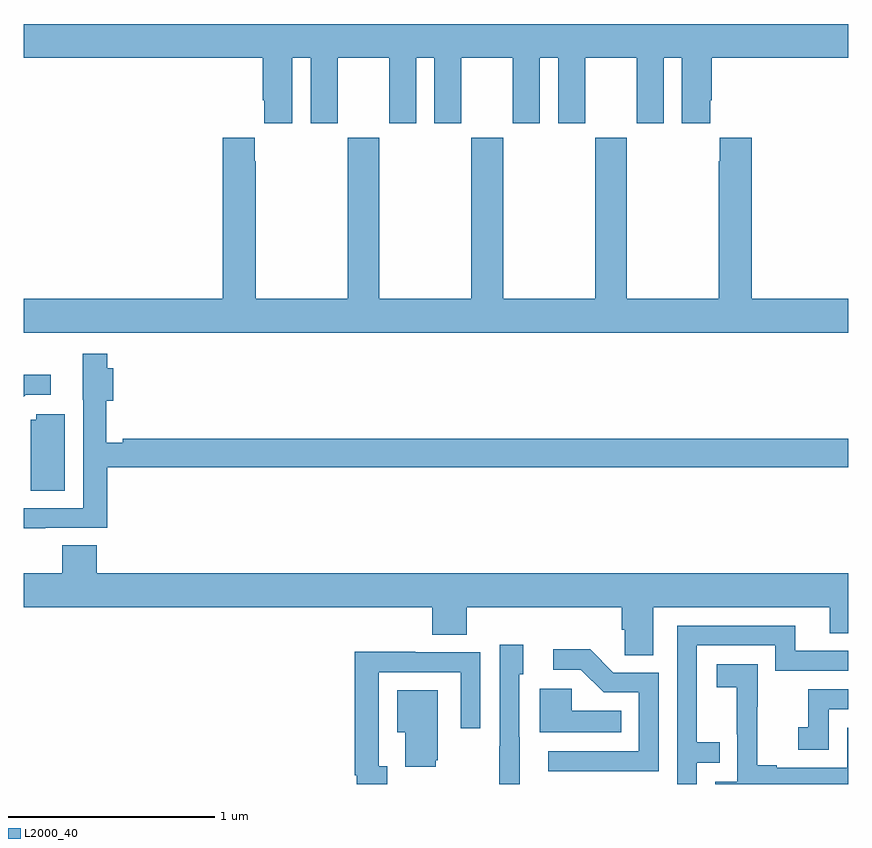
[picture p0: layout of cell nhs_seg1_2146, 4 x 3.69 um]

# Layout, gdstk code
import gdstk
lib = gdstk.Library(unit=1e-6, precision=1e-09)
def P(c, l, *ps):  # polygons
    for p in ps: c.add(gdstk.Polygon(p, *l))
L2000_40 = (2000, 40)

nhs_seg1_2146 = lib.new_cell('nhs_seg1_2146')
P(nhs_seg1_2146, L2000_40, [(227,563.72),(228.161,563.72),(228.161,563.515),(228.167,563.515),(228.167,563.403),(228.304,563.403),(228.304,563.72),(228.392,563.72),(228.392,563.403),(228.523,563.403),(228.523,563.72),(228.773,563.72),(228.773,563.403),(228.904,563.403),(228.904,563.72),(228.992,563.72),(228.992,563.403),(229.123,563.403),(229.123,563.72),(229.373,563.72),(229.373,563.403),(229.504,563.403),(229.504,563.72),(229.592,563.72),(229.592,563.403),(229.723,563.403),(229.723,563.72),(229.973,563.72),(229.973,563.403),(230.104,563.403),(230.104,563.72),(230.192,563.72),(230.192,563.403),(230.329,563.403),(230.329,563.515),(230.336,563.515),(230.336,563.72),(231,563.72),(231,563.884),(227,563.884)],
  [(231,562.552),(230.531,562.552),(230.531,563.332),(230.375,563.332),(230.375,563.219),(230.371,563.219),(230.371,562.552),(229.926,562.552),(229.926,563.332),(229.771,563.332),(229.771,562.552),(229.326,562.552),(229.326,563.332),(229.171,563.332),(229.171,562.552),(228.726,562.552),(228.726,563.332),(228.571,563.332),(228.571,562.552),(228.126,562.552),(228.126,563.219),(228.121,563.219),(228.121,563.332),(227.966,563.332),(227.966,562.552),(227,562.552),(227,562.388),(231,562.388)],
  [(227.105,561.441),(227.405,561.441),(227.405,561.736),(231,561.736),(231,561.872),(227.482,561.872),(227.482,561.854),(227.401,561.854),(227.401,562.058),(227.435,562.058),(227.435,562.216),(227.405,562.216),(227.405,562.285),(227.288,562.285),(227.288,562.062),(227.289,562.062),(227.289,561.537),(227,561.537),(227,561.439),(227.105,561.439)],
  [(227.01,562.086),(227.131,562.086),(227.131,562.183),(227,562.183),(227,562.076)],
  [(227.2,561.993),(227.061,561.993),(227.061,561.966),(227.036,561.966),(227.036,561.622),(227.2,561.622)],
  [(230.053,561.056),(230.909,561.056),(230.909,560.929),(231,560.929),(231,561.22),(227.354,561.22),(227.354,561.356),(227.189,561.356),(227.189,561.22),(227,561.22),(227,561.056),(228.983,561.056),(228.983,560.923),(229.148,560.923),(229.148,561.056),(229.901,561.056),(229.901,560.947),(229.914,560.947),(229.914,560.824),(230.053,560.824)],
  [(230.265,560.301),(230.375,560.301),(230.375,560.402),(230.265,560.402),(230.265,560.871),(230.646,560.871),(230.646,560.748),(231,560.748),(231,560.844),(230.743,560.844),(230.743,560.967),(230.169,560.967),(230.169,560.199),(230.265,560.199)],
  [(229.405,560.426),(229.404,560.426),(229.404,560.73),(229.423,560.73),(229.423,560.875),(229.308,560.875),(229.308,560.381),(229.306,560.381),(229.306,560.199),(229.405,560.199)],
  [(230.079,560.739),(229.86,560.739),(229.747,560.852),(229.569,560.852),(229.569,560.754),(229.703,560.754),(229.814,560.643),(229.983,560.643),(229.983,560.358),(229.545,560.358),(229.545,560.262),(230.079,560.262)],
  [(228.763,560.286),(228.723,560.286),(228.723,560.742),(229.119,560.742),(229.119,560.469),(229.215,560.469),(229.215,560.838),(228.899,560.838),(228.899,560.84),(228.607,560.84),(228.607,560.242),(228.615,560.242),(228.615,560.199),(228.763,560.199)],
  [(231,560.472),(230.994,560.472),(230.994,560.277),(230.653,560.277),(230.653,560.29),(230.558,560.29),(230.558,560.573),(230.559,560.573),(230.559,560.779),(230.361,560.779),(230.361,560.669),(230.459,560.669),(230.459,560.441),(230.46,560.441),(230.46,560.211),(230.355,560.211),(230.355,560.199),(231,560.199)],
  [(229.898,560.554),(229.659,560.554),(229.659,560.662),(229.502,560.662),(229.502,560.45),(229.898,560.45)],
  [(230.904,560.562),(231,560.562),(231,560.658),(230.806,560.658),(230.806,560.473),(230.757,560.473),(230.757,560.364),(230.904,560.364)],
  [(228.998,560.313),(229.009,560.313),(229.009,560.653),(228.812,560.653),(228.812,560.45),(228.851,560.45),(228.851,560.282),(228.998,560.282)])

lib.write_gds('nhs_seg1_2146.gds')
